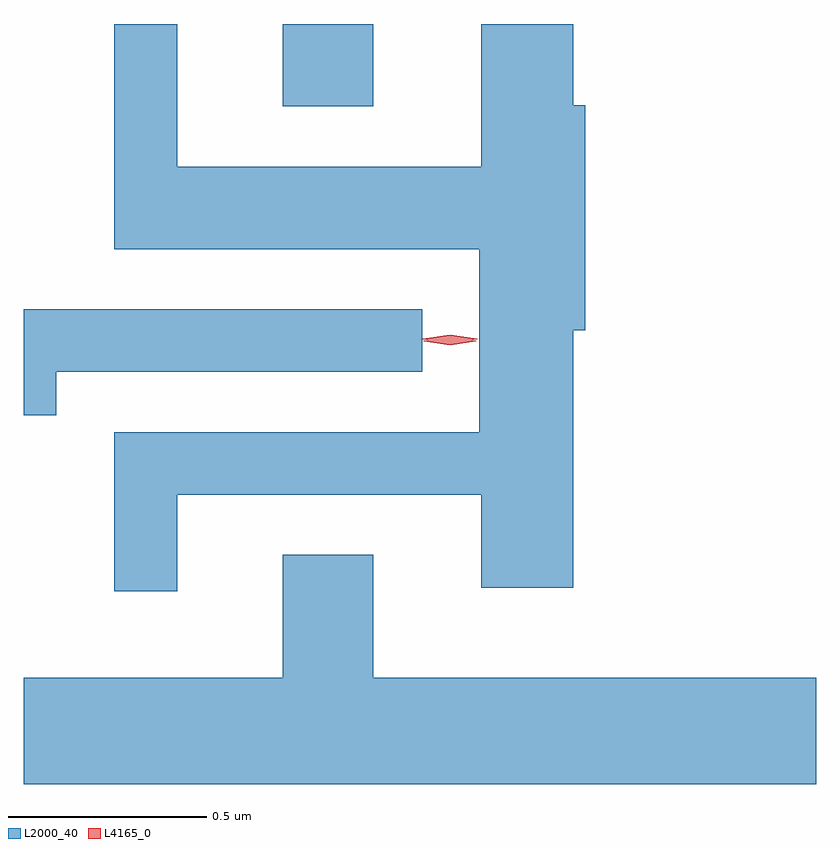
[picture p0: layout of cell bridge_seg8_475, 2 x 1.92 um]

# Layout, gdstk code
import gdstk
lib = gdstk.Library(unit=1e-6, precision=1e-09)
def R(c, l, rs):  # rectangles x0, y0, x1, y1
    for r in rs: c.add(gdstk.rectangle(r[:2], r[2:], *l))
def P(c, l, *ps):  # polygons
    for p in ps: c.add(gdstk.Polygon(p, *l))
L2000_40 = (2000, 40)
L4165_0 = (4165, 0)

bridge_seg8_475 = lib.new_cell('bridge_seg8_475')
R(bridge_seg8_475, L2000_40, [(598.081,1878.086,598.309,1878.294)])
P(bridge_seg8_475, L2000_40, [(597.814,1877.106),(598.581,1877.106),(598.581,1876.871),(598.814,1876.871),(598.814,1877.521),(598.844,1877.521),(598.844,1878.089),(598.814,1878.089),(598.814,1878.294),(598.581,1878.294),(598.581,1877.934),(597.814,1877.934),(597.814,1878.294),(597.656,1878.294),(597.656,1877.726),(598.576,1877.726),(598.576,1877.264),(597.656,1877.264),(597.656,1876.863),(597.814,1876.863)],
  [(597.509,1877.416),(598.433,1877.416),(598.433,1877.574),(597.427,1877.574),(597.427,1877.306),(597.509,1877.306)],
  [(599.427,1876.644),(598.309,1876.644),(598.309,1876.954),(598.081,1876.954),(598.081,1876.644),(597.427,1876.644),(597.427,1876.376),(599.427,1876.376)])
P(bridge_seg8_475, L4165_0, [(598.503,1877.49),(598.434,1877.499),(598.433,1877.499),(598.434,1877.5),(598.503,1877.51),(598.572,1877.5),(598.572,1877.5),(598.572,1877.499)],
  [(598.503,1877.483),(598.437,1877.493),(598.437,1877.493),(598.437,1877.494),(598.503,1877.503),(598.568,1877.494),(598.569,1877.493),(598.568,1877.493)])

lib.write_gds('bridge_seg8_475.gds')
